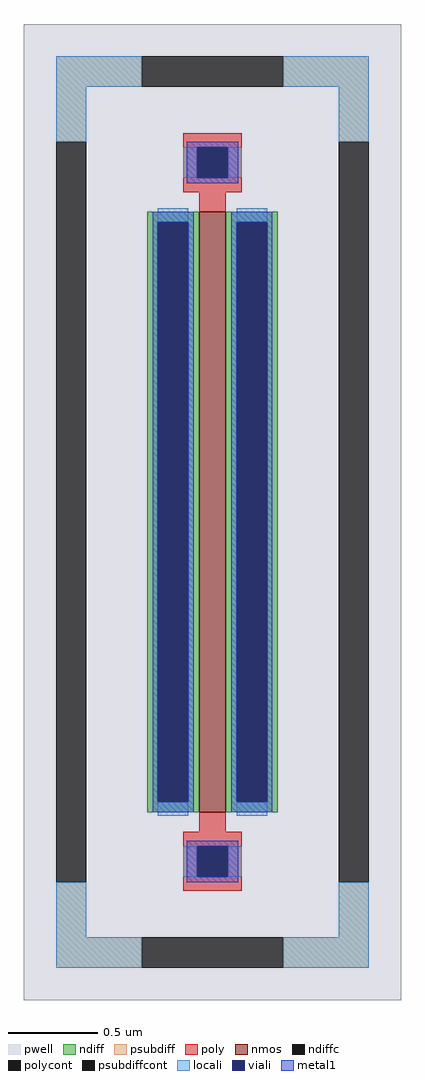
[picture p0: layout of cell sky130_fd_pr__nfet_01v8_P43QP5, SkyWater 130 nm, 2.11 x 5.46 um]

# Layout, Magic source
magic
tech sky130A
magscale 1 2
<< pwell >>
rect -211 -546 211 546
<< nmos >>
rect -15 -336 15 336
<< ndiff >>
rect -73 324 -15 336
rect -73 -324 -61 324
rect -27 -324 -15 324
rect -73 -336 -15 -324
rect 15 324 73 336
rect 15 -324 27 324
rect 61 -324 73 324
rect 15 -336 73 -324
<< ndiffc >>
rect -61 -324 -27 324
rect 27 -324 61 324
<< psubdiff >>
rect -175 476 -79 510
rect 79 476 175 510
rect -175 414 -141 476
rect 141 414 175 476
rect -175 -476 -141 -414
rect 141 -476 175 -414
rect -175 -510 -79 -476
rect 79 -510 175 -476
<< psubdiffcont >>
rect -79 476 79 510
rect -175 -414 -141 414
rect 141 -414 175 414
rect -79 -510 79 -476
<< poly >>
rect -33 408 33 424
rect -33 374 -17 408
rect 17 374 33 408
rect -33 358 33 374
rect -15 336 15 358
rect -15 -358 15 -336
rect -33 -374 33 -358
rect -33 -408 -17 -374
rect 17 -408 33 -374
rect -33 -424 33 -408
<< polycont >>
rect -17 374 17 408
rect -17 -408 17 -374
<< locali >>
rect -175 476 -79 510
rect 79 476 175 510
rect -175 414 -141 476
rect 141 414 175 476
rect -33 374 -17 408
rect 17 374 33 408
rect -61 324 -27 340
rect -61 -340 -27 -324
rect 27 324 61 340
rect 27 -340 61 -324
rect -33 -408 -17 -374
rect 17 -408 33 -374
rect -175 -476 -141 -414
rect 141 -476 175 -414
rect -175 -510 -79 -476
rect 79 -510 175 -476
<< viali >>
rect -17 374 17 408
rect -61 -324 -27 324
rect 27 -324 61 324
rect -17 -408 17 -374
<< metal1 >>
rect -29 408 29 414
rect -29 374 -17 408
rect 17 374 29 408
rect -29 368 29 374
rect -67 324 -21 336
rect -67 -324 -61 324
rect -27 -324 -21 324
rect -67 -336 -21 -324
rect 21 324 67 336
rect 21 -324 27 324
rect 61 -324 67 324
rect 21 -336 67 -324
rect -29 -374 29 -368
rect -29 -408 -17 -374
rect 17 -408 29 -374
rect -29 -414 29 -408
<< properties >>
string FIXED_BBOX -158 -493 158 493
string gencell sky130_fd_pr__nfet_01v8
string library sky130
string parameters w 3.36 l 0.15 m 1 nf 1 diffcov 100 polycov 100 guard 1 glc 1 grc 1 gtc 1 gbc 1 tbcov 100 rlcov 100 topc 1 botc 1 poverlap 0 doverlap 1 lmin 0.15 wmin 0.42 compatible {sky130_fd_pr__nfet_01v8 sky130_fd_pr__nfet_01v8_lvt  sky130_fd_bs_flash__special_sonosfet_star  sky130_fd_pr__nfet_g5v0d10v5 sky130_fd_pr__nfet_05v0_nvt  sky130_fd_pr__nfet_03v3_nvt} full_metal 1 viasrc 100 viadrn 100 viagate 100 viagb 0 viagr 0 viagl 0 viagt 0
<< end >>
